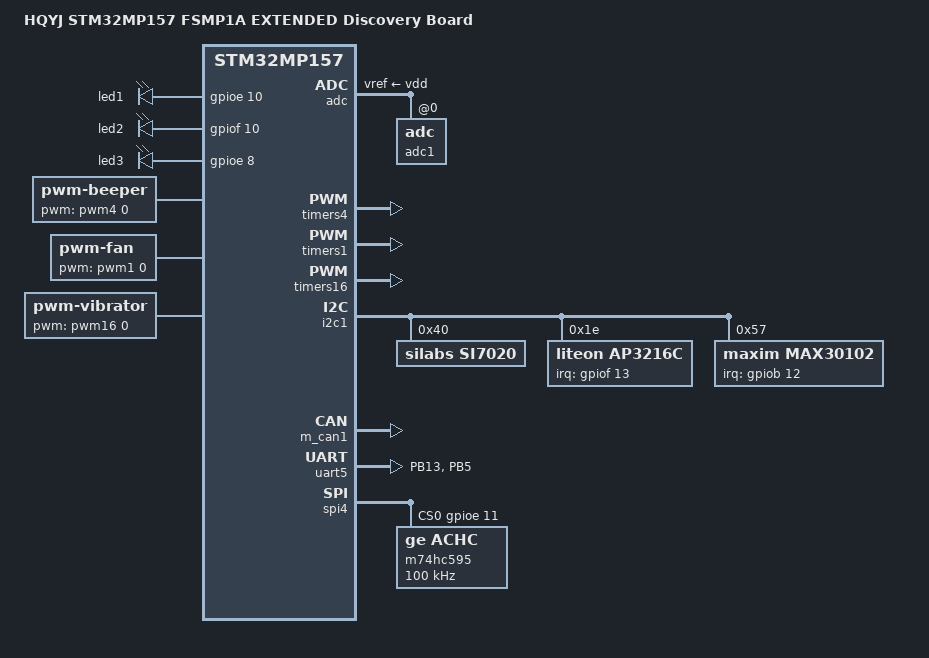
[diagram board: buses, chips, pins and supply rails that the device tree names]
// SPDX-License-Identifier: (GPL-2.0+ OR BSD-3-Clause)
/*
 * Copyright (C) Farsight 2018 - All Rights Reserved
 */

/dts-v1/;

#include "stm32mp157a-fsmp1a.dts"

/ {
    model = "HQYJ STM32MP157 FSMP1A EXTENDED Discovery Board";
    compatible = "st,stm32mp157a-fsmp1a-extended", "st,stm32mp157";

	aliases {
		serial1 = &uart5;
	};

	led {
		compatible = "gpio-leds";
		led1 {
			label = "led1";
			gpios = <&gpioe 10 GPIO_ACTIVE_HIGH>;
			default-state = "off";
		};
		led2 {
			label = "led2";
			gpios = <&gpiof 10 GPIO_ACTIVE_HIGH>;
			default-state = "off";
		};
		led3 {
			label = "led3";
			gpios = <&gpioe 8 GPIO_ACTIVE_HIGH>;
			default-state = "off";
		};
	};

	beeper {
		compatible = "pwm-beeper";
		pwms = <&pwm4 0 4000000>;
	};

	fan {
		compatible = "pwm-fan";
		#cooling-cells = <2>;
		pwms = <&pwm1 0 1000>;
		cooling-levels = <0 102 170 230>;
	};

	vibrator {
		compatible = "pwm-vibrator";
		pwms = <&pwm16 0 4000000>;
		pwm-names = "enable";
		direction-duty-cycle-ns = <10000000>;
	};
};

&adc {
	vdd-supply = <&vdd>;
	vdda-supply = <&vdd>;
	vref-supply = <&vdd>;
	status = "okay";

	adc1: adc@0 {
		st,adc-channels = <0 1>;
		st,min-sample-time-nsecs = <10000>;
		status = "okay";
	};
};


&timers4 {
	/* spare dmas for other usage */
	/delete-property/dmas;
	/delete-property/dma-names;
	status = "okay";
	pwm4: pwm {
		pinctrl-0 = <&pwm4_pins_c>;
		pinctrl-1 = <&pwm4_sleep_pins_c>;
		pinctrl-names = "default", "sleep";
		#pwm-cells = <2>;
		status = "okay";
	};
	timer@3 {
		status = "disabled";
	};
};

&timers1 {
	/* spare dmas for other usage */
	/delete-property/dmas;
	/delete-property/dma-names;
	status = "okay";
	pwm1: pwm {
		pinctrl-0 = <&pwm1_pins_b>;
		pinctrl-1 = <&pwm1_sleep_pins_b>;
		pinctrl-names = "default", "sleep";
		#pwm-cells = <2>;
		status = "okay";
	};
	timer@0 {
		status = "disabled";
	};
};

&timers16 {
	/* spare dmas for other usage */
	/delete-property/dmas;
	/delete-property/dma-names;
	status = "okay";
	pwm16: pwm {
		pinctrl-0 = <&pwm16_pins_a>;
		pinctrl-1 = <&pwm16_sleep_pins_a>;
		pinctrl-names = "default", "sleep";
		#pwm-cells = <2>;
		status = "okay";
	};
	timer@16 {
		status = "disabled";
	};
};

&i2c1 {
	pinctrl-names = "default", "sleep";
	pinctrl-0 = <&i2c1_pins_b>;
	pinctrl-1 = <&i2c1_pins_sleep_b>;
	i2c-scl-rising-time-ns = <100>;
	i2c-scl-falling-time-ns = <7>;
	status = "okay";
	/delete-property/dmas;
	/delete-property/dma-names;

	si7020: si7020@40 {
		compatible = "silabs,si7020";
		reg = <0x40>;
	};

	ap3216c: ap3216c@1e {
		compatible = "liteon,ap3216c";
		reg = <0x1e>;
		interrupts = <13 IRQ_TYPE_EDGE_FALLING>;
		interrupt-parent = <&gpiof>;
	};

	max30102: max30102@57 {
		compatible = "maxim,max30102";
		reg = <0x57>;
		maxim,red-led-current-microamp = <10000>;
		maxim,ir-led-current-microamp = <10000>;
		interrupt-parent = <&gpiob>;
		interrupts = <12 IRQ_TYPE_EDGE_FALLING >;
	};
};

&m_can1 {
	pinctrl-names = "default","sleep";
	pinctrl-0 = <&m_can1_pins_a>;
	pinctrl-1 = <&m_can1_sleep_pins_a>;
	status = "okay";

	can-transmitter {
		max-bitrate = <5000000>;
	};
};

&uart5 {
	pinctrl-names = "default", "sleep", "idle", "no_console_suspend";
	pinctrl-0 = <&uart5_pins_a>;
	pinctrl-1 = <&uart5_sleep_pins_a>;
	pinctrl-2 = <&uart5_idle_pins_a>;
	/delete-property/dmas;
	/delete-property/dma-names;
	status = "okay";
};


&pinctrl {
	pwm4_pins_c: pwm4-0 {
		pins {
	 		pinmux = <STM32_PINMUX('B', 6, AF2)>; /* TIM4_CH1 */
			bias-pull-down;
			drive-push-pull;
			slew-rate = <0>;
			};
	};

	pwm4_sleep_pins_c: pwm4-sleep-0 {
		pins {
			pinmux = <STM32_PINMUX('B', 6, ANALOG)>; /* TIM4_CH1 */
		};
	};

	pwm1_pins_b: pwm1-0 {
		pins {
			pinmux = <STM32_PINMUX('E', 9, AF1)>; /* TIM1_CH1 */
			bias-pull-down;
			drive-push-pull;
			slew-rate = <0>;
		};
	};

	pwm1_sleep_pins_b: pwm1-sleep-0 {
		pins {
			pinmux = <STM32_PINMUX('E', 9, ANALOG)>; /* TIM1_CH1 */
		};
	};

	pwm16_pins_a: pwm16-0 {
		pins {
			pinmux = <STM32_PINMUX('F', 6, AF1)>; /* TIM16_CH1 */
			bias-pull-down;
			drive-push-pull;
			slew-rate = <0>;
		};
	};

	pwm16_sleep_pins_a: pwm16-sleep-0 {
		pins {
			pinmux = <STM32_PINMUX('F', 6, ANALOG)>; /* TIM16_CH1 */
		};
	};

	uart5_pins_a: uart5-0 {
		pins1 {
			pinmux = <STM32_PINMUX('B', 13, AF14)>; /* UART5_TX */
			bias-disable;
			drive-push-pull;
			slew-rate = <0>;
		};
		pins2 {
			pinmux = <STM32_PINMUX('B', 5, AF12)>; /* UART5_RX */
			bias-disable;
		};
	};

	uart5_idle_pins_a: uart5-idle-0 {
		pins1 {
			pinmux = <STM32_PINMUX('B', 13, ANALOG)>; /* UART5_TX */
		};
		pins2 {
			pinmux = <STM32_PINMUX('B', 5, AF7)>; /* UART5_RX */
			bias-disable;
		};
	};

	uart5_sleep_pins_a: uart5-sleep-0 {
		pins {
			pinmux = <STM32_PINMUX('B', 13, ANALOG)>, /* UART5_TX */
					 <STM32_PINMUX('B', 5, ANALOG)>; /* UART5_RX */
		};
	};

};
&spi4 {
	pinctrl-names = "default", "sleep";
	pinctrl-0 = <&spi4_pins_a>;
	pinctrl-1 = <&spi4_sleep_pins_a>;
	cs-gpios = <&gpioe 11 0>;
	status = "okay";

	m74hc595: m74hc595@0 {
		compatible = "ge,achc";
		reg = <0>;
		spi-max-frequency = <100000>;
	};
};


